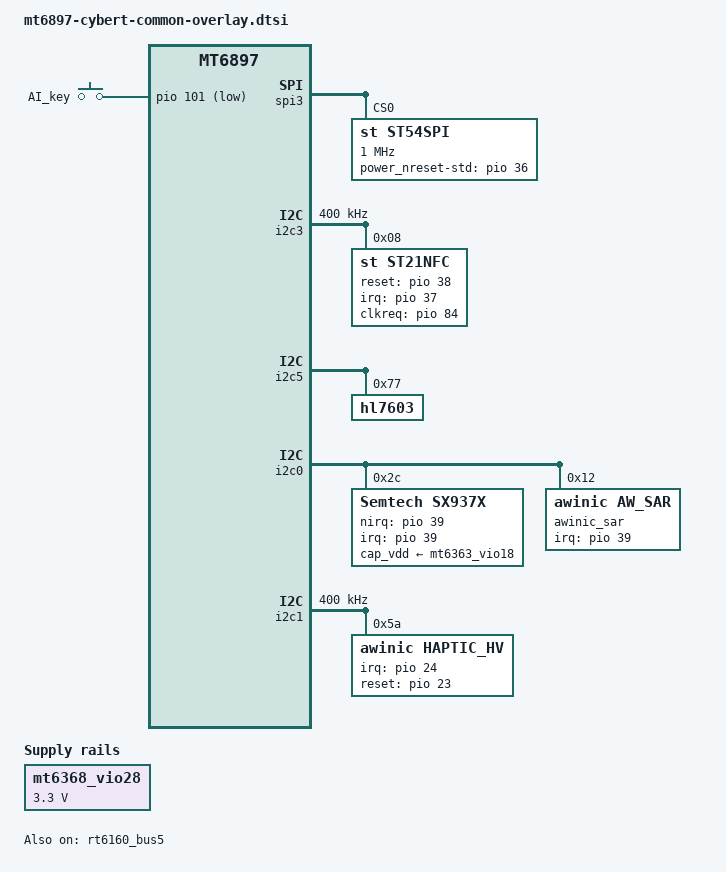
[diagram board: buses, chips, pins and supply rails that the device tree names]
/* Copyright (c) 2023, Motorola Mobility Inc. All rights reserved.
 *
 * This program is free software; you can redistribute it and/or modify
 * it under the terms of the GNU General Public License version 2 and
 * only version 2 as published by the Free Software Foundation.
 *
 * This program is distributed in the hope that it will be useful,
 * but WITHOUT ANY WARRANTY; without even the implied warranty of
 * MERCHANTABILITY or FITNESS FOR A PARTICULAR PURPOSE.  See the
 * GNU General Public License for more details.
 */

#include "mediatek/mt6897-moto-common-overlay-single-panel.dtsi"

#include "mediatek/cybert-charger.dtsi"
#include "mediatek/cybert-fps.dtsi"
#include "mediatek/cybert-ntc.dtsi"
#include "mediatek/cybert-display.dtsi"
#include "mediatek/cybert-touch.dtsi"
#include "mediatek/cybert-audio.dtsi"

&rt5133 {
	status = "disabled";
};

&regulator_vibrator {
	status = "disabled";
};

&mmc1 {
	status = "disabled";
};

&pio {
	nfc_spi_cs_mode_spi: nfc_spi_cs_mode_spi {
		pins_cmd_dat {
			pinmux = <PINMUX_GPIO28__FUNC_SPI3_CSB>;
			bias-disable;
		};
	};

	nfc_spi_cs_mode_idle: nfc_spi_cs_mode_idle {
		pins_cmd_dat {
			pinmux = <PINMUX_GPIO28__FUNC_GPIO28>;
			bias-disable;
		};
	};
};


&spi3 {
	st54spi: st54spi@0 {
		compatible = "st,st54spi";
		reg = <0>;
		spi-max-frequency = <1000000>;
		gpio-power_nreset = <36>;
		gpio-power_nreset-std = <&pio 36 0x00>;
		power_mode = "ST54J";
		bootmode = <&chosen>;
		pinctrl-names = "pinctrl_state_mode_spi",
				"pinctrl_state_mode_idle";
		pinctrl-0 = <&nfc_spi_cs_mode_spi>;
		pinctrl-1 = <&nfc_spi_cs_mode_idle>;
		status = "okay";
	};
};

&i2c3 {
	status = "ok";
	clock-frequency = <400000>;
	st21nfc: st21nfc@0x08 {
		compatible = "st,st21nfc";
		reg = <0x08>;
		interrupt-parent = <&pio>;
		interrupts = <37 0>;
		bootmode = <&chosen>;
		reset-gpios = <&pio 38 0x00>;
		irq-gpios = <&pio 37 0x00>;
		clkreq-gpios = <&pio 84 0x00>;
		status = "ok";
	};
};

&pio {
	sar_int_default: sar_int_default {
		pins_cmd_dat {
			pinmux = <PINMUX_GPIO39__FUNC_GPIO39>;
			input-enable;
			drive-strength = <2>;
			bias-pull-up;
		};
	};

	sar_int_sleep: sar_int_sleep {
		pins_cmd_dat {
			pinmux = <PINMUX_GPIO39__FUNC_GPIO39>;
			input-enable;
			drive-strength = <2>;
			bias-pull-up;
		};
	};
	gpio1_input_pull_up: gpio1_input_pull_up {
		pins_cmd_dat {
			pinmux = <PINMUX_GPIO24__FUNC_GPIO24>;
			slew-rate = <0>;
			bias-pull-up = <00>;
		};
	};

	phone_case_int_default: phone_case_int_default {
		pins_cmd_dat {
			pinmux = <PINMUX_GPIO26__FUNC_GPIO26>;
			input-enable;
			bias-disable;
		};
	};

	phone_case_int_sleep: phone_case_int_sleep {
		pins_cmd_dat {
			pinmux = <PINMUX_GPIO26__FUNC_GPIO26>;
			input-enable;
			bias-disable;
		};
	};
};

&therm_intf {
	/*Vsensor name should be CASE DIFFERENT with the name in config file*/
	mmi,temperature-names = "BACK_TEMP", "FRONT_TEMP";/*for "back_temp" in config file*/
};

&rt6160_bus5{
	status = "ok";
};

&i2c5 {
	hl7603@77 {
		status = "ok";
		compatible = "hl7603";
		reg = <0x77>;
		/* hl7603_vout_voltage = <0x0B>; //3.4v */
	};
};

&mt6368_vio28 {
        regulator-min-microvolt = <3300000>;
        regulator-max-microvolt = <3300000>;
};

&i2c0 {
	status = "ok";

	sx937x@2c { /* SAR sensor */
		compatible = "Semtech,sx937x";
		reg = <0x2c>;
		Semtech,power-supply-type = <0>;
		cap_vdd-supply = <&mt6363_vio18>;
		pinctrl-names = "default","sleep";
		pinctrl-0 = <&sar_int_default>;
		pinctrl-1 = <&sar_int_sleep>;
		interrupt-parent = <&pio>;
		interrupts = <39 0x02>;
		interrupt-names = "capsense0_irq";
		Semtech,nirq-gpio= <&pio 39 0x02>;
		esd-reinit-on = <1>;
		/*use PH5/6 as the reference sensor
		set it to 0xff if the ref-phases-x is not used*/
		Semtech,ref-phases-a = <5>;
		Semtech,ref-phases-b = <6>;
		Semtech,ref-phases-c = <0xff>;
		Semtech,button-flag = <0x0f>;
		Semtech,reg-num = <67>;
		Semtech,reg-init = <
			0x8024 0x7F00
			0x4004 0x70
			0x4280 0x0
			0x8020 0x32
			0x8028 0x26E
			0x8034 0x26E
			0x8040 0x26E
			0x804C 0x26E
			0x8058 0x26E
			0x8064 0x26E
			0x8070 0x26E
			0x807C 0x0
			0x8030 0xFFF9FD
			0x803C 0xF7F9FF
			0x8048 0xFEF9FF
			0x8054 0xBFF9FF
			0x8060 0xFFF9EF
			0x806C 0xFFD9FF
			0x8078 0xF7F97F
			0x8084 0x0
			0x8098 0x884E
			0x80B8 0x704E
			0x80D8 0x884E
			0x80F8 0x1F1F
			0x8118 0x0
			0x8138 0x0
			0x8158 0x0
			0x8178 0x0
			0x80A0 0x0
			0x80C0 0x0
			0x80E0 0x0
			0x8100 0x0
			0x8120 0x0
			0x8140 0x0
			0x8160 0x0
			0x8180 0x0
			0x8188 0x8000014
			0x818C 0x8000015
			0x8190 0x8000016
			0x8194 0x0
			0x8090 0x0
			0x80B0 0x0
			0x80D0 0x0
			0x80F0 0x0
			0x8110 0x0
			0x8130 0x0
			0x8150 0x0
			0x8170 0x0
			0x8088 0x300000
			0x80A8 0x300000
			0x80C8 0x300000
			0x80E8 0x300000
			0x8108 0x300000
			0x8128 0x300000
			0x8148 0x300000
			0x8168 0x0
			0x808C 0xE0602218
			0x80AC 0xE0602218
			0x80CC 0xE0602218
			0x80EC 0xE0602218
			0x810C 0xE0602218
			0x812C 0xE0600018
			0x814C 0xE0602318
			0x816C 0x0
			0x4280 0xF
			0x8024 0x7F7F
			0x4280 0xE
		>;
		status = "okay";
	};
	awinic_sar:awinic_sar@12 {
			/* common node */
			compatible = "awinic,aw_sar";
			reg = < 0x12 >;
			sar-num = < 0 >;
			pinctrl-names = "default","sleep";
			pinctrl-0 = <&sar_int_default>;
			pinctrl-1 = <&sar_int_sleep>;
			interrupt-parent = <&pio>;
			interrupts = <39 0x02>;
			interrupt-names = "awinic_irq";
			irq-gpio = <&pio 39 0x02>;
			//vcc0-supply = <&mt6363_vio18>;
			channel_use_flag = <0x0f>;
			monitor_esd_flag = <1>;
			aw_sar,use_plug_cail;
			aw_sar,new_fw_format;
			//aw_sar,update_fw;
			aw_sar,using_pm_ops;
			/* private node belongs to aw963xx */
			start-mode = < 1 >; // 0: start in rom  1: start in ram
			irq-mux = < 2 >; // set csx as irq pin. config this field when connect to aw96308/aw96310
			status = "okay";
	};
};

&hall_phone_case_detect {
	pinctrl-names = "default","sleep";
	pinctrl-0 = <&phone_case_int_default>;
	pinctrl-1 = <&phone_case_int_sleep>;
	hall,factory-class-name = "hall_gpio";
	hall,input-dev-name = "phone_case_hall_sensor";
	/* hall_vdd-supply = <&pm8350c_l8>; */
	hall,nirq-gpio-num = <1>;
	hall,nirq-gpio_0 = <&pio 26 0x02>;
	hall,nirq-gpio-high-val_0 = <0>;
	hall,nirq-gpio-low-val_0 = <1>;
};

&i2c1 {
	clock-frequency = <400000>;
	status = "okay";
	haptic_hv@5A {
		status = "okay";
		compatible = "awinic,haptic_hv";
		reg = <0x5A>;
		irq-gpio = <&pio 24 0>;
		reset-gpio = <&pio 23 0>;
		pinctrl-names = "irq_active";
		pinctrl-0 = <&gpio1_input_pull_up>;
		f0_pre = < 1700 >;
		mode = /bits/ 8 < 5 >;

		aw8693x_f0_cali_percent = /bits/ 8 < 15 >;
		aw8693x_gain_bypass = /bits/ 8 < 1 >;
		aw8693x_uvlo_vol_default = /bits/ 8 < 0 >;
		aw8693x_cont_smart_loop = /bits/ 8 < 0 >;
		aw8693x_cont_drv1_lvl = /bits/ 8 < 0x7F >;
		aw8693x_cont_lra_vrms = < 1000 >;
		aw8693x_cont_drv1_time = /bits/ 8 < 0x04 >;
		aw8693x_cont_drv2_time = /bits/ 8 < 0x14 >;
		aw8693x_cont_track_margin = /bits/ 8 < 0x0F >;
		aw8693x_cont_brk_gain = /bits/ 8 < 0x08 >;
		aw8693x_cont_brk_time = /bits/ 8 < 0x08 >;
		aw8693x_duration_time = /bits/ 8 < 20 30 60 >;
		aw8693x_d2s_gain = /bits/ 8 < 0x04 >;
		aw8693x_trig_config = /bits/ 8 < 0 0 0 1 0 2 0 0
						 0 0 0 1 0 2 0 0
						 0 0 0 1 0 2 0 0 >;
		aw8693x_bst_vol_default = < 8500 >;
		aw8693x_is_enabled_track_en;
		aw8693x_is_pwm_12k;
		/* aw8693x_is_enabled_auto_bst; */
		/* aw8693x_is_enabled_one_wire; */
	};

};

&u2port0{
        mediatek,eye-vrt = <0x3>;
        mediatek,eye-vrt-host = <0x3>;
        mediatek,eye-term = <0x4>;
        mediatek,eye-term-host = <0x4>;
        mediatek,rev6 = <0x2>;
        mediatek,rev6-host = <0x2>;
};

/*vol+/- keys swap*/
&mt6363keys {
	home {
		linux,keycodes = <114>;
	};
};

/* KEY GPIO standardization start */
&pio{
	aikey_gpio_default:key-default {
		ai_key_int {
			pinmux = <PINMUX_GPIO101__FUNC_GPIO101>;
			input-enable;
			bias-pull-up;
		};
	};
};
/* KEY GPIO standardization end */
&gpio_keys {
	status = "okay";
	pinctrl-names = "default";
	pinctrl-0 = <&aikey_gpio_default>;
	aikey {
		label = "AI_key";
		linux,code = <583>;
		linux,input-type = <1>;
		gpios = <&pio 101 1>;
		wakeup-source;
		debounce-interval = <30>;
	};
};

&low_battery_throttling {
        thd-volts-l = <
                3099 2952 2872
                3404 3118 3012
                3926 3502 3342>;
        thd-volts-h = <
                3199 3099 2952
                3504 3404 3118
                4026 3926 3502>;
        lvsys-thd-volt-l = <2872>;
        lvsys-thd-volt-h = <2952>;
};

&cpu_power_throttling {
        lbat-limit-freq-lv2 = < 1800000  1800000 1800000>;
        lbat-limit-freq-lv3 = < 1200000  1200000 1200000>;
};

&gpu_power_throttling {
        lbat-limit-freq = <1200000 700000 600000>;
};

&bp_thl {
        soc-limit-threshold = <5>;
};

&mt6375_batoc_throttle {
        status = "disabled";
};

&md_power_throttling {
        lbat-max-level = <3>;
        lbat-reduce-tx-lv1 = <0>;
        lbat-reduce-tx-lv2 = <0>;
        lbat-reduce-tx-lv3 = <0>;

        oc-max-level = <2>;
        oc-reduce-tx-lv1 = <0>;
        oc-reduce-tx-lv2 = <0>;

        soc-max-level = <1>;
        soc-reduce-tx-lv1 = <6>;
};

